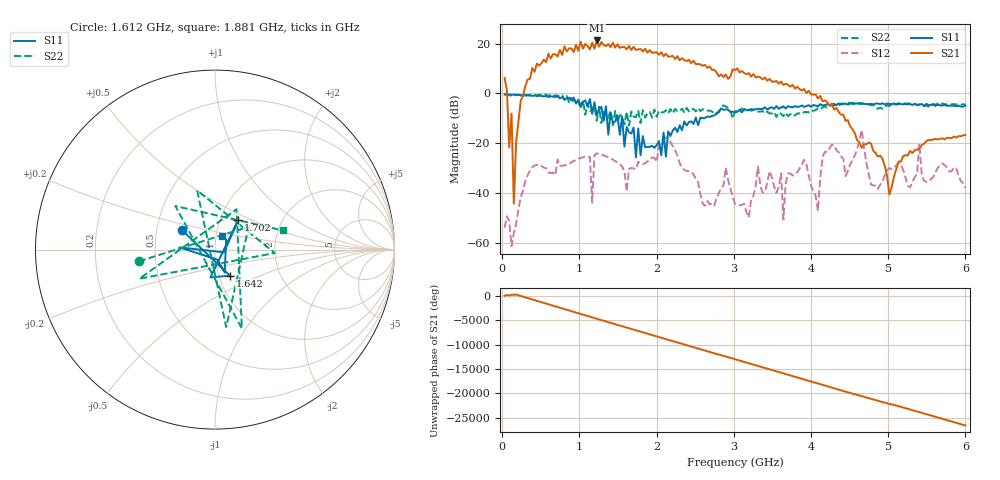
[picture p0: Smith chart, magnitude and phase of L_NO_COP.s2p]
!Keysight Technologies N9916A: A.08.01
!Date: Wednesday, 21 June 2023 19:10:47
!Timezone: (GMT+01:00) Amsterdam, Berlin, Bern, Rome, Stockholm, Vienna
!Model: N9916A
!Serial: MY53104702
!GPS Latitude:
!GPS Longitude:
!GPS TimeStamp: 0001-01-01 00:00:00Z
!GPS Seconds Since Last Read: 0
!CHECKSUM:2019168114
!Correction: S11(Rdy)S21(Rdy)S12(OFF)S22(Rdy)
!S2P File: Measurements:S11,S21,S12,S22:
# Hz S DB R 50
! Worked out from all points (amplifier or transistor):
!   201 points, 30 MHz to 6 GHz, reference 50 ohm
!   highest |S21| = 21.3 dB at 1.224 GHz (marker M1)
!   |S21| within 3 dB of that: 1.197 GHz to 1.595 GHz (397.7 MHz wide, 28.5 % of centre) (the widest 1 of 8)
!   unconditionally stable (mu >= 1): 46.63 MHz to 261.4 MHz; 1.41 GHz to 2.028 GHz; 2.189 GHz to end of sweep (the widest 3 of 6)
!   at 1.015 GHz: K = 0.73, MSG = 23.3 dB, |S12| = -25.8 dB
!   at 3.015 GHz: K = 18.59, MAG = 11.1 dB, |S12| = -44.3 dB
!   at 6 GHz: K = 114.91, MAG = -13.0 dB, |S12| = -37.9 dB
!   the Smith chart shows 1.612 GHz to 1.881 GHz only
!   S11 on the Smith chart (normalised r, x): 1.612 GHz: 0.68, +0.15; 1.642 GHz: 1.13, -0.34; 1.702 GHz: 1.22, +0.42; 1.881 GHz: 1.06, +0.16
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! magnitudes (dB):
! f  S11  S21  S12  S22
! 30 MHz  -0.3  6.2  -53.8  -0.4
! 89.7 MHz  -0.4  -21.7  -51.2  -0.6
! 119.5 MHz  -0.5  -8.1  -61.2  -1.0
! 149.4 MHz  -0.4  -44.1  -56.0  -0.5
! 238.9 MHz  -0.8  -2.9  -41.5  -0.7
! 388.2 MHz  -1.0  10.2  -29.5  -0.8
! 1.045 GHz  -3.4  18.0  -25.6  -2.8
! 1.134 GHz  -2.2  17.7  -25.6  -6.9
! 1.164 GHz  -8.2  20.3  -43.8  -6.9
! 1.224 GHz  -8.8  21.3  -24.0  -10.9
! 1.612 GHz  -13.4  17.7  -39.4  -7.3
! 1.642 GHz  -15.6  19.0  -30.3  -12.9
! 1.702 GHz  -13.6  18.7  -30.0  -9.3
! 1.881 GHz  -21.4  16.3  -27.2  -8.1
! 2.03 GHz  -19.1  15.5  -21.0  -7.0
! 3.015 GHz  -7.6  9.4  -44.3  -7.3
! 3.91 GHz  -5.4  1.8  -26.5  -7.4
! 4.03 GHz  -4.6  -0.5  -39.5  -7.0
! 4.657 GHz  -4.1  -21.8  -14.6  -4.0
! 4.776 GHz  -4.1  -20.0  -36.5  -4.8
! 5.015 GHz  -4.1  -40.5  -29.9  -5.1
! 6 GHz  -4.8  -16.7  -37.9  -4.4
